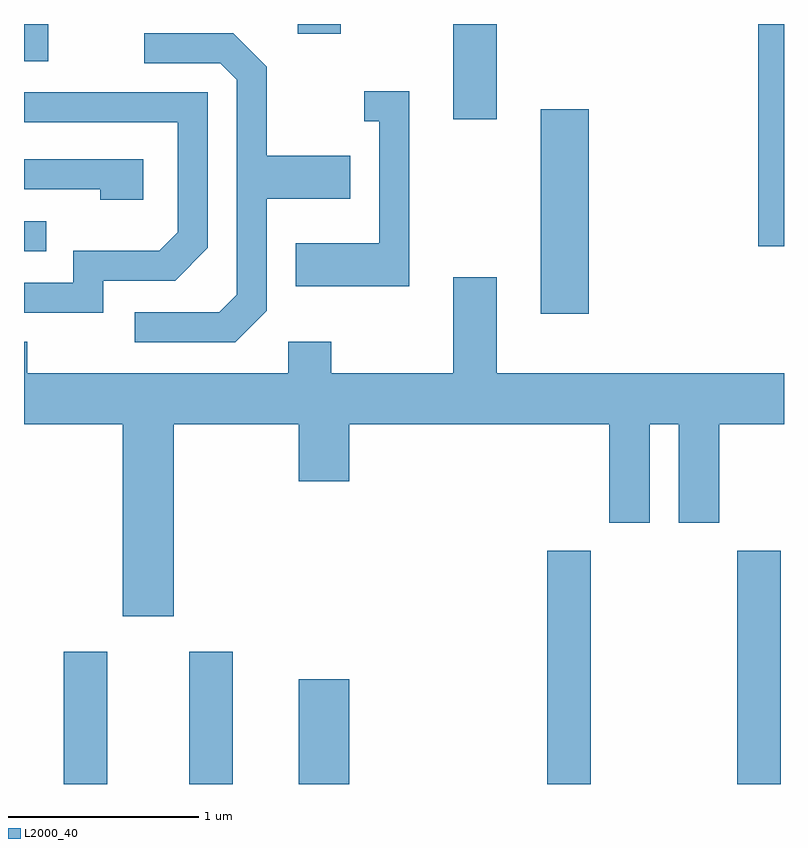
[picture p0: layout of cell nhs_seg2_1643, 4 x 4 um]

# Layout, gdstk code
import gdstk
lib = gdstk.Library(unit=1e-6, precision=1e-09)
def R(c, l, rs):  # rectangles x0, y0, x1, y1
    for r in rs: c.add(gdstk.rectangle(r[:2], r[2:], *l))
def P(c, l, *ps):  # polygons
    for p in ps: c.add(gdstk.Polygon(p, *l))
L2000_40 = (2000, 40)

nhs_seg2_1643 = lib.new_cell('nhs_seg2_1643')
R(nhs_seg2_1643, L2000_40, [(233.821,999.802,234.049,1000.499), (234.481,999.802,234.709,1000.499), (235.056,999.802,235.324,1000.354), (236.366,999.802,236.594,1001.029), (237.366,999.802,237.594,1001.029), (236.331,1002.276,236.584,1003.354), (233.611,1002.606,233.728,1002.764), (237.476,1002.631,237.611,1003.802), (235.871,1003.301,236.099,1003.802), (233.611,1003.606,233.739,1003.802), (235.051,1003.751,235.279,1003.802)])
P(nhs_seg2_1643, L2000_40, [(234.889,1002.294),(234.889,1002.881),(235.329,1002.881),(235.329,1003.109),(234.889,1003.109),(234.889,1003.577),(234.712,1003.754),(234.243,1003.754),(234.243,1003.596),(234.644,1003.596),(234.731,1003.509),(234.731,1002.377),(234.639,1002.284),(234.193,1002.284),(234.193,1002.126),(234.722,1002.126)],
  [(235.639,1003.449),(235.403,1003.449),(235.403,1003.291),(235.481,1003.291),(235.481,1002.649),(235.041,1002.649),(235.041,1002.421),(235.639,1002.421)],
  [(234.029,1002.451),(234.407,1002.451),(234.579,1002.624),(234.579,1003.444),(233.611,1003.444),(233.611,1003.286),(234.421,1003.286),(234.421,1002.707),(234.324,1002.609),(233.871,1002.609),(233.871,1002.439),(233.611,1002.439),(233.611,1002.281),(234.029,1002.281)],
  [(234.239,1003.089),(233.611,1003.089),(233.611,1002.931),(234.011,1002.931),(234.011,1002.876),(234.239,1002.876)],
  [(234.399,1001.696),(235.056,1001.696),(235.056,1001.396),(235.324,1001.396),(235.324,1001.696),(236.691,1001.696),(236.691,1001.176),(236.904,1001.176),(236.904,1001.696),(237.056,1001.696),(237.056,1001.176),(237.269,1001.176),(237.269,1001.696),(237.611,1001.696),(237.611,1001.964),(236.099,1001.964),(236.099,1002.469),(235.871,1002.469),(235.871,1001.964),(235.229,1001.964),(235.229,1002.129),(235.001,1002.129),(235.001,1001.964),(233.629,1001.964),(233.629,1002.129),(233.611,1002.129),(233.611,1001.696),(234.131,1001.696),(234.131,1000.686),(234.399,1000.686)])

lib.write_gds('nhs_seg2_1643.gds')
